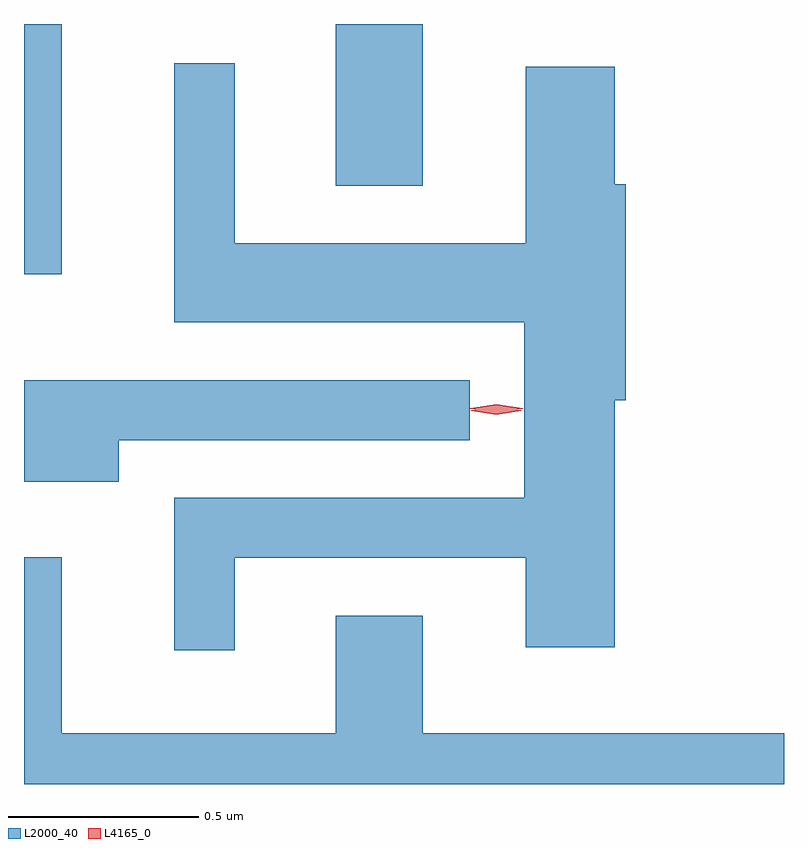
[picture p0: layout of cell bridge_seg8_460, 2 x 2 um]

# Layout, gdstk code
import gdstk
lib = gdstk.Library(unit=1e-6, precision=1e-09)
def R(c, l, rs):  # rectangles x0, y0, x1, y1
    for r in rs: c.add(gdstk.rectangle(r[:2], r[2:], *l))
def P(c, l, *ps):  # polygons
    for p in ps: c.add(gdstk.Polygon(p, *l))
L2000_40 = (2000, 40)
L4165_0 = (4165, 0)

bridge_seg8_460 = lib.new_cell('bridge_seg8_460')
R(bridge_seg8_460, L2000_40, [(597.26,1877.853,597.359,1878.511), (598.081,1878.086,598.309,1878.511)])
P(bridge_seg8_460, L2000_40, [(597.814,1877.106),(598.581,1877.106),(598.581,1876.871),(598.814,1876.871),(598.814,1877.521),(598.844,1877.521),(598.844,1878.089),(598.814,1878.089),(598.814,1878.399),(598.581,1878.399),(598.581,1877.934),(597.814,1877.934),(597.814,1878.408),(597.656,1878.408),(597.656,1877.726),(598.576,1877.726),(598.576,1877.264),(597.656,1877.264),(597.656,1876.863),(597.814,1876.863)],
  [(597.509,1877.416),(598.433,1877.416),(598.433,1877.574),(597.26,1877.574),(597.26,1877.306),(597.509,1877.306)],
  [(599.26,1876.644),(598.309,1876.644),(598.309,1876.954),(598.081,1876.954),(598.081,1876.644),(597.359,1876.644),(597.359,1877.108),(597.26,1877.108),(597.26,1876.511),(599.26,1876.511)])
P(bridge_seg8_460, L4165_0, [(598.503,1877.49),(598.434,1877.499),(598.433,1877.499),(598.434,1877.5),(598.503,1877.51),(598.572,1877.5),(598.572,1877.5),(598.572,1877.499)],
  [(598.503,1877.483),(598.437,1877.493),(598.437,1877.493),(598.437,1877.494),(598.503,1877.503),(598.568,1877.494),(598.569,1877.493),(598.568,1877.493)])

lib.write_gds('bridge_seg8_460.gds')
